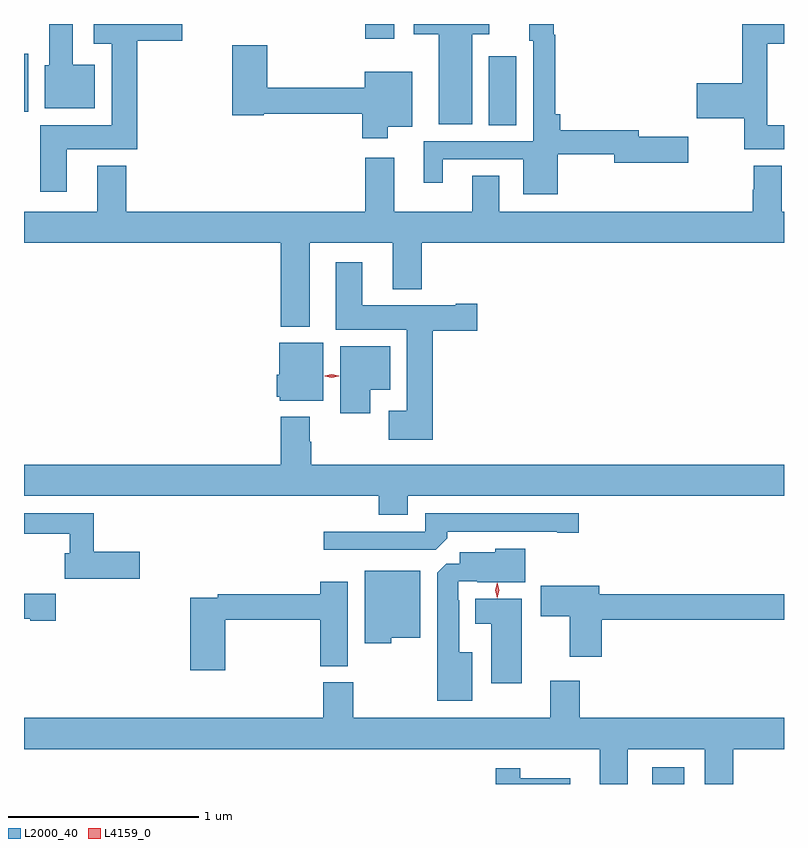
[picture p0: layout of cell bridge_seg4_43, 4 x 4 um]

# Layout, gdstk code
import gdstk
lib = gdstk.Library(unit=1e-6, precision=1e-09)
def R(c, l, rs):  # rectangles x0, y0, x1, y1
    for r in rs: c.add(gdstk.rectangle(r[:2], r[2:], *l))
def P(c, l, *ps):  # polygons
    for p in ps: c.add(gdstk.Polygon(p, *l))
L2000_40 = (2000, 40)
L4159_0 = (4159, 0)

bridge_seg4_43 = lib.new_cell('bridge_seg4_43')
R(bridge_seg4_43, L2000_40, [(679.251,828.604,679.419,828.691), (678.392,832.072,678.535,832.435), (675.945,832.142,675.967,832.447), (677.741,832.527,677.893,832.604)])
P(bridge_seg4_43, L2000_40, [(676.318,832.39),(676.201,832.39),(676.201,832.604),(676.079,832.604),(676.079,832.386),(676.055,832.386),(676.055,832.16),(676.318,832.16)],
  [(679.945,832.072),(679.858,832.072),(679.858,832.499),(679.945,832.499),(679.945,832.604),(679.724,832.604),(679.724,832.292),(679.485,832.292),(679.485,832.109),(679.736,832.109),(679.736,831.944),(679.945,831.944)],
  [(678.754,831.918),(679.052,831.918),(679.052,831.875),(679.441,831.875),(679.441,832.01),(679.18,832.01),(679.18,832.046),(678.767,832.046),(678.767,832.129),(678.74,832.129),(678.74,832.547),(678.733,832.547),(678.733,832.604),(678.605,832.604),(678.605,832.515),(678.624,832.515),(678.624,831.987),(678.05,831.987),(678.05,831.768),(678.148,831.768),(678.148,831.891),(678.572,831.891),(678.572,831.707),(678.754,831.707)],
  [(678.304,832.55),(678.394,832.55),(678.394,832.604),(677.997,832.604),(677.997,832.55),(678.128,832.55),(678.128,832.076),(678.304,832.076)],
  [(676.171,831.944),(676.541,831.944),(676.541,832.517),(676.777,832.517),(676.777,832.604),(676.311,832.604),(676.311,832.499),(676.406,832.499),(676.406,832.072),(676.031,832.072),(676.031,831.72),(676.171,831.72)],
  [(677.86,832.064),(677.989,832.064),(677.989,832.354),(677.738,832.354),(677.738,832.268),(677.225,832.268),(677.225,832.492),(677.042,832.492),(677.042,832.124),(677.208,832.124),(677.208,832.132),(677.726,832.132),(677.726,832.002),(677.86,832.002)],
  [(677.449,831.452),(677.885,831.452),(677.885,831.209),(678.038,831.209),(678.038,831.452),(679.945,831.452),(679.945,831.616),(679.933,831.616),(679.933,831.859),(679.786,831.859),(679.786,831.732),(679.781,831.732),(679.781,831.616),(678.445,831.616),(678.445,831.806),(678.305,831.806),(678.305,831.616),(677.893,831.616),(677.893,831.901),(677.741,831.901),(677.741,831.616),(676.484,831.616),(676.484,831.859),(676.331,831.859),(676.331,831.616),(675.945,831.616),(675.945,831.452),(677.297,831.452),(677.297,831.011),(677.449,831.011)],
  [(678.095,830.99),(678.331,830.99),(678.331,831.132),(678.218,831.132),(678.218,831.124),(677.725,831.124),(677.725,831.349),(677.585,831.349),(677.585,830.996),(677.96,830.996),(677.96,830.569),(677.865,830.569),(677.865,830.417),(678.095,830.417)],
  [(677.521,830.926),(677.288,830.926),(677.288,830.757),(677.276,830.757),(677.276,830.643),(677.292,830.643),(677.292,830.621),(677.521,830.621)],
  [(677.767,830.678),(677.872,830.678),(677.872,830.908),(677.609,830.908),(677.609,830.556),(677.767,830.556)],
  [(677.965,830.12),(679.945,830.12),(679.945,830.284),(677.457,830.284),(677.457,830.405),(677.449,830.405),(677.449,830.536),(677.297,830.536),(677.297,830.284),(675.945,830.284),(675.945,830.12),(677.813,830.12),(677.813,830.021),(677.965,830.021)],
  [(678.173,829.898),(678.173,829.932),(678.752,829.932),(678.752,829.927),(678.865,829.927),(678.865,830.028),(678.057,830.028),(678.057,829.932),(677.523,829.932),(677.523,829.836),(678.111,829.836)],
  [(676.555,829.827),(676.313,829.827),(676.313,830.028),(675.945,830.028),(675.945,829.92),(676.185,829.92),(676.185,829.819),(676.159,829.819),(676.159,829.685),(676.555,829.685)],
  [(678.304,829.297),(678.235,829.297),(678.235,829.571),(678.231,829.571),(678.231,829.671),(678.331,829.671),(678.331,829.667),(678.583,829.667),(678.583,829.843),(678.426,829.843),(678.426,829.825),(678.239,829.825),(678.239,829.764),(678.168,829.764),(678.119,829.715),(678.119,829.043),(678.304,829.043)],
  [(677.877,829.373),(678.031,829.373),(678.031,829.726),(677.738,829.726),(677.738,829.346),(677.877,829.346)],
  [(677.003,829.468),(677.504,829.468),(677.504,829.225),(677.65,829.225),(677.65,829.669),(677.504,829.669),(677.504,829.604),(676.966,829.604),(676.966,829.584),(676.82,829.584),(676.82,829.203),(677.003,829.203)],
  [(678.986,829.468),(679.945,829.468),(679.945,829.604),(678.973,829.604),(678.973,829.648),(678.666,829.648),(678.666,829.486),(678.818,829.486),(678.818,829.275),(678.986,829.275)],
  [(676.111,829.605),(675.945,829.605),(675.945,829.475),(675.978,829.475),(675.978,829.463),(676.111,829.463)],
  [(678.565,829.579),(678.32,829.579),(678.32,829.448),(678.404,829.448),(678.404,829.134),(678.565,829.134)],
  [(679.123,828.788),(679.529,828.788),(679.529,828.604),(679.677,828.604),(679.677,828.788),(679.945,828.788),(679.945,828.952),(678.869,828.952),(678.869,829.147),(678.716,829.147),(678.716,828.952),(677.679,828.952),(677.679,829.14),(677.519,829.14),(677.519,828.952),(675.945,828.952),(675.945,828.788),(678.974,828.788),(678.974,828.604),(679.123,828.604)],
  [(678.821,828.634),(678.556,828.634),(678.556,828.688),(678.427,828.688),(678.427,828.604),(678.821,828.604)])
P(bridge_seg4_43, L4159_0, [(678.436,829.582),(678.436,829.582),(678.426,829.623),(678.436,829.664),(678.436,829.664),(678.436,829.664),(678.446,829.623),(678.436,829.582)],
  [(677.565,830.741),(677.528,830.751),(677.528,830.751),(677.528,830.752),(677.565,830.761),(677.602,830.752),(677.602,830.751),(677.602,830.751)])

lib.write_gds('bridge_seg4_43.gds')
